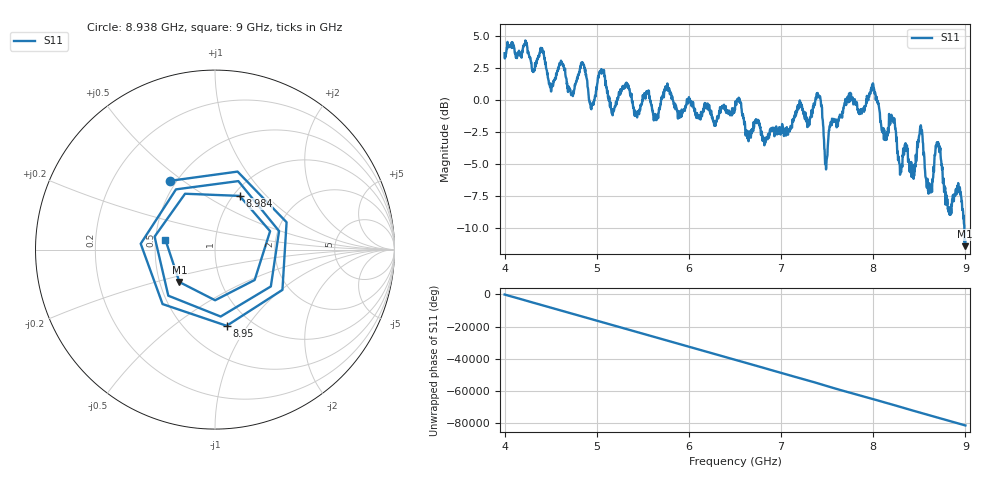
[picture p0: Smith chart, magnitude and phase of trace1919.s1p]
! Created with skrf 1.8.0 (http://scikit-rf.org).
# Hz S RI R 50.0
!freq ReS11 ImS11
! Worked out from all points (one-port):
!   1601 points, 4 GHz to 9 GHz, reference 50 ohm
!   lowest |S11| = -11.4 dB at 8.997 GHz (marker M1), VSWR 1.73, Z = 31.6 - j12.3 ohm
!   |S11| at or under -10 dB: 8.988461 GHz to end of sweep
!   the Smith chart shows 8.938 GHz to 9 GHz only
!   S11 on the Smith chart (normalised r, x): 8.938 GHz: 0.46, +0.45; 8.95 GHz: 0.77, -0.81; 8.984 GHz: 1.07, +0.72; 9 GHz: 0.56, +0.07
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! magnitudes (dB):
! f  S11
! 4 GHz  3.7
! 4.625 GHz  2.9
! 4.734 GHz  0.4
! 4.853 GHz  2.8
! 4.941 GHz  -0.7
! 5.053 GHz  2.1
! 5.166 GHz  -1.1
! 5.25 GHz  0.6
! 5.875 GHz  -0.9
! 6.5 GHz  -0.8
! 6.819 GHz  -3.5
! 7.125 GHz  -1.7
! 7.406 GHz  0.3
! 7.488 GHz  -5.4
! 7.75 GHz  0.6
! 8 GHz  1.2
! 8.112 GHz  -2.2
! 8.375 GHz  -4.1
! 8.441 GHz  -5.6
! 8.516 GHz  -2.0
! 8.603 GHz  -6.5
! 8.703 GHz  -3.3
! 8.816 GHz  -8.4
! 8.938 GHz  -6.8
! 8.95 GHz  -7.3
! 8.984 GHz  -9.6
! 8.997 GHz  -11.4
! 9 GHz  -11.0
